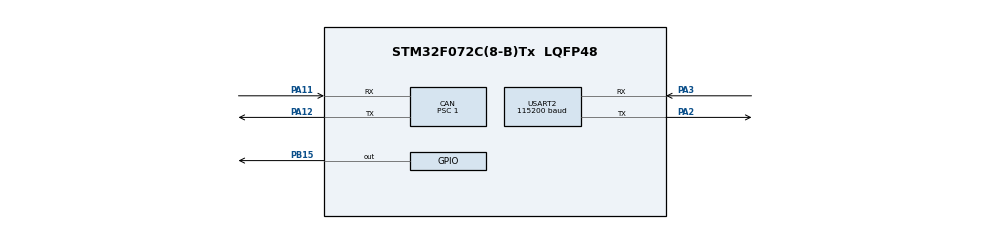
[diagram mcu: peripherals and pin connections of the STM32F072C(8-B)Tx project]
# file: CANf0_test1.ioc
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CAN.BS1=CAN_BS1_13TQ
CAN.BS2=CAN_BS2_2TQ
CAN.CalculateBaudRate=500000
CAN.CalculateTimeBit=2000
CAN.CalculateTimeQuantum=125.0
CAN.Prescaler=1
Mcu.Family=STM32F0
Mcu.Name=STM32F072C(8-B)Tx
Mcu.Package=LQFP48
NVIC.CEC_CAN_IRQn=true\:0\:0\:false\:false\:true\:true\:true\:true
NVIC.USART2_IRQn=true\:0\:0\:false\:false\:true\:true\:true\:true
PA11.Mode=CAN_Activate
PA11.Signal=CAN_RX
PA12.Mode=CAN_Activate
PA12.Signal=CAN_TX
PA13.Mode=Serial_Wire
PA13.Signal=SYS_SWDIO
PA14.Mode=Serial_Wire
PA14.Signal=SYS_SWCLK
PA2.Mode=Asynchronous
PA2.Signal=USART2_TX
PA3.Mode=Asynchronous
PA3.Signal=USART2_RX
PB15.Signal=GPIO_Output
PF0-OSC_IN.Mode=HSE-External-Oscillator
PF0-OSC_IN.Signal=RCC_OSC_IN
PF1-OSC_OUT.Mode=HSE-External-Oscillator
PF1-OSC_OUT.Signal=RCC_OSC_OUT
ProjectManager.HeapSize=0x200
ProjectManager.StackSize=0x400
ProjectManager.TargetToolchain=MDK-ARM V5.32
USART2.BaudRate=115200
USART2.VirtualMode-Asynchronous=VM_ASYNC
board=custom

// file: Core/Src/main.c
/* USER CODE BEGIN Header */
/**
  ******************************************************************************
  * @file           : main.c
  * @brief          : Main program body
  ******************************************************************************
  * @attention
  *
  * Copyright (c) 2025 STMicroelectronics.
  * All rights reserved.
  *
  * This software is licensed under terms that can be found in the LICENSE file
  * in the root directory of this software component.
  * If no LICENSE file comes with this software, it is provided AS-IS.
  *
  ******************************************************************************
  */
/* USER CODE END Header */
#include "main.h"

/* USER CODE BEGIN Includes */
#include <string.h>
/* USER CODE END Includes */

/* USER CODE BEGIN PTD */
// --- Original, Unchanged CAN Variables ---
volatile uint8_t messageReceived = 0;
CAN_RxHeaderTypeDef rxHeader;
uint8_t rxData[8];

// --- New UART Gateway Specific Typedefs ---
// A simple structure to hold a CAN message for UART framing
typedef struct
{
  uint16_t id;
  uint8_t dlc;
  uint8_t data[8];
} UART_CanMessage_t;

// State machine for receiving UART messages
typedef enum
{
  UART_STATE_WAITING_FOR_START,
  UART_STATE_READING_ID_HIGH,
  UART_STATE_READING_ID_LOW,
  UART_STATE_READING_DLC,
  UART_STATE_READING_DATA,
  UART_STATE_READING_CHECKSUM,
  UART_STATE_READING_END
} UART_State_t;
/* USER CODE END PTD */

/* USER CODE BEGIN PD */
// --- New UART Gateway Defines ---
const uint8_t UART_START_BYTE = 0xAA;
const uint8_t UART_END_BYTE = 0x55;
/* USER CODE END PD */

CAN_HandleTypeDef hcan;

UART_HandleTypeDef huart2;

/* USER CODE BEGIN PV */
// --- New UART Gateway Specific Variables ---
UART_State_t uart_currentState = UART_STATE_WAITING_FOR_START;
UART_CanMessage_t uart_receivedMsg;
uint8_t uart_incomingByte;
int uart_dataIndex = 0;
uint8_t uart_calculatedChecksum = 0;
/* USER CODE END PV */

void SystemClock_Config(void);
static void MX_GPIO_Init(void);
static void MX_CAN_Init(void);
static void MX_USART2_UART_Init(void);
/* USER CODE BEGIN PFP */
// --- Original, Unchanged CAN Function Prototypes ---
void can_irq(CAN_HandleTypeDef *pcan);
HAL_StatusTypeDef can_send(uint32_t id, uint8_t data[], uint8_t length);

// --- New UART Gateway Function Prototypes ---
void gateway_send_can_over_uart(uint32_t id, uint8_t* data, uint8_t dlc);
void gateway_process_uart_byte(void);
/* USER CODE END PFP */

/* USER CODE BEGIN 0 */
// --- Original, Unchanged CAN Functions ---
void can_irq(CAN_HandleTypeDef *pcan) {
  /* Simply receive whatever message comes in */
  if (HAL_CAN_GetRxMessage(pcan, CAN_RX_FIFO0, &rxHeader, rxData) == HAL_OK) {
    messageReceived = 1;
  }
}

HAL_StatusTypeDef can_send(uint32_t id, uint8_t data[], uint8_t length) {
  CAN_TxHeaderTypeDef txHeader;
  uint32_t mailbox;

  /* Configure TX header */
  txHeader.StdId = id;
  txHeader.IDE = CAN_ID_STD;
  txHeader.RTR = CAN_RTR_DATA;
  txHeader.DLC = length;
  txHeader.TransmitGlobalTime = DISABLE;

  /* Check if mailbox is available and send */
  if (HAL_CAN_GetTxMailboxesFreeLevel(&hcan) > 0) {
    return HAL_CAN_AddTxMessage(&hcan, &txHeader, data, &mailbox);
  }
  return HAL_BUSY;
}

// --- New UART Gateway Functions ---

/**
 * @brief  Takes CAN data and sends it over UART with framing and checksum.
 * @param  id: The CAN message ID.
 * @param  data: Pointer to the CAN data payload.
 * @param  dlc: The data length code of the CAN message.
 * @retval None
 */
void gateway_send_can_over_uart(uint32_t id, uint8_t* data, uint8_t dlc)
{
  uint8_t tx_buffer[14]; // Max size: 1 start + 2 id + 1 dlc + 8 data + 1 checksum + 1 end
  int idx = 0;

  // Calculate the checksum
  uint8_t checksum = 0;
  checksum ^= (id >> 8);
  checksum ^= (id & 0xFF);
  checksum ^= dlc;
  for (int i = 0; i < dlc; ++i)
  {
    checksum ^= data[i];
  }

  // Populate the transmission buffer
  tx_buffer[idx++] = UART_START_BYTE;
  tx_buffer[idx++] = (uint8_t)(id >> 8);
  tx_buffer[idx++] = (uint8_t)(id & 0xFF);
  tx_buffer[idx++] = dlc;
  memcpy(&tx_buffer[idx], data, dlc);
  idx += dlc;
  tx_buffer[idx++] = checksum;
  tx_buffer[idx++] = UART_END_BYTE;

  // Transmit the message
  HAL_UART_Transmit(&huart2, tx_buffer, idx, 100);
}

/**
  * @brief  Processes a single byte received from UART using a state machine.
  * @note   This function is called from the UART RX interrupt callback.
  * When a full, valid message is parsed, it calls can_send().
  * @retval None
  */
void gateway_process_uart_byte(void)
{
    switch (uart_currentState)
    {
    case UART_STATE_WAITING_FOR_START:
      if (uart_incomingByte == UART_START_BYTE)
      {
        uart_currentState = UART_STATE_READING_ID_HIGH;
        uart_calculatedChecksum = 0;
        uart_dataIndex = 0;
        memset(&uart_receivedMsg, 0, sizeof(uart_receivedMsg));
      }
      break;

    case UART_STATE_READING_ID_HIGH:
      uart_receivedMsg.id = (uint16_t)uart_incomingByte << 8;
      uart_calculatedChecksum ^= uart_incomingByte;
      uart_currentState = UART_STATE_READING_ID_LOW;
      break;

    case UART_STATE_READING_ID_LOW:
      uart_receivedMsg.id |= uart_incomingByte;
      uart_calculatedChecksum ^= uart_incomingByte;
      uart_currentState = UART_STATE_READING_DLC;
      break;

    case UART_STATE_READING_DLC:
      uart_receivedMsg.dlc = uart_incomingByte;
      uart_calculatedChecksum ^= uart_incomingByte;
      if (uart_receivedMsg.dlc <= 8)
      {
        uart_currentState = (uart_receivedMsg.dlc == 0) ? UART_STATE_READING_CHECKSUM : UART_STATE_READING_DATA;
      }
      else
      { // Invalid DLC, reset
        uart_currentState = UART_STATE_WAITING_FOR_START;
      }
      break;

    case UART_STATE_READING_DATA:
      uart_receivedMsg.data[uart_dataIndex] = uart_incomingByte;
      uart_calculatedChecksum ^= uart_incomingByte;
      uart_dataIndex++;
      if (uart_dataIndex == uart_receivedMsg.dlc)
      {
        uart_currentState = UART_STATE_READING_CHECKSUM;
      }
      break;

    case UART_STATE_READING_CHECKSUM:
      if (uart_incomingByte == uart_calculatedChecksum)
      { // Checksum is valid
        uart_currentState = UART_STATE_READING_END;
      }
      else
      { // Checksum mismatch, reset
        uart_currentState = UART_STATE_WAITING_FOR_START;
      }
      break;

    case UART_STATE_READING_END:
      if (uart_incomingByte == UART_END_BYTE)
      {
        // Message successfully received and validated!
        // Now, transmit this message onto the CAN bus using the original function.
        can_send(uart_receivedMsg.id, uart_receivedMsg.data, uart_receivedMsg.dlc);
        HAL_GPIO_TogglePin(GPIOB, GPIO_PIN_15); // Toggle LED to indicate UART->CAN activity
      }
      // Reset state machine for the next message
      uart_currentState = UART_STATE_WAITING_FOR_START;
      break;
    }
}

/**
  * @brief  Rx Transfer completed callback.
  * @param  huart: UART handle
  * @retval None
  */
void HAL_UART_RxCpltCallback(UART_HandleTypeDef *huart)
{
    if (huart->Instance == USART2)
    {
        // Process the received byte
        gateway_process_uart_byte();
        // Re-arm the interrupt for the next byte
        HAL_UART_Receive_IT(&huart2, &uart_incomingByte, 1);
    }
}
/* USER CODE END 0 */

int main(void)
{

  /* MCU Configuration--------------------------------------------------------*/

  /* Reset of all peripherals, Initializes the Flash interface and the Systick. */
  HAL_Init();

  /* Configure the system clock */
  SystemClock_Config();

  /* Initialize all configured peripherals */
  MX_GPIO_Init();
  MX_CAN_Init();
  MX_USART2_UART_Init();
  /* USER CODE BEGIN 2 */
	HAL_GPIO_WritePin(GPIOB, GPIO_PIN_15, GPIO_PIN_RESET); // LED off

  // Start UART reception in interrupt mode
  HAL_UART_Receive_IT(&huart2, &uart_incomingByte, 1);
  /* USER CODE END 2 */

  /* Infinite loop */
  while (1)
  {

    /* USER CODE BEGIN 3 */
		/* If a CAN message was received (flag set in can_irq), process it. */
    if (messageReceived) {
      // 1. Forward the received CAN message over UART
      gateway_send_can_over_uart(rxHeader.StdId, rxData, rxHeader.DLC);

      // 2. Toggle LED to indicate CAN->UART activity
      HAL_GPIO_TogglePin(GPIOB, GPIO_PIN_15);

      // 3. Clear the flag (original behavior)
      messageReceived = 0;
    }

    HAL_Delay(50);
  }
  /* USER CODE END 3 */
}

void SystemClock_Config(void)
{
  RCC_OscInitTypeDef RCC_OscInitStruct = {0};
  RCC_ClkInitTypeDef RCC_ClkInitStruct = {0};
  RCC_PeriphCLKInitTypeDef PeriphClkInit = {0};

  /** Initializes the RCC Oscillators according to the specified parameters
  * in the RCC_OscInitTypeDef structure.
  */
  RCC_OscInitStruct.OscillatorType = RCC_OSCILLATORTYPE_HSI;
  RCC_OscInitStruct.HSIState = RCC_HSI_ON;
  RCC_OscInitStruct.HSICalibrationValue = RCC_HSICALIBRATION_DEFAULT;
  RCC_OscInitStruct.PLL.PLLState = RCC_PLL_NONE;
  if (HAL_RCC_OscConfig(&RCC_OscInitStruct) != HAL_OK)
  {
    Error_Handler();
  }

  /** Initializes the CPU, AHB and APB buses clocks
  */
  RCC_ClkInitStruct.ClockType = RCC_CLOCKTYPE_HCLK|RCC_CLOCKTYPE_SYSCLK
                              |RCC_CLOCKTYPE_PCLK1;
  RCC_ClkInitStruct.SYSCLKSource = RCC_SYSCLKSOURCE_HSI;
  RCC_ClkInitStruct.AHBCLKDivider = RCC_SYSCLK_DIV1;
  RCC_ClkInitStruct.APB1CLKDivider = RCC_HCLK_DIV1;

  if (HAL_RCC_ClockConfig(&RCC_ClkInitStruct, FLASH_LATENCY_0) != HAL_OK)
  {
    Error_Handler();
  }
  PeriphClkInit.PeriphClockSelection = RCC_PERIPHCLK_USART2;
  PeriphClkInit.Usart2ClockSelection = RCC_USART2CLKSOURCE_PCLK1;
  if (HAL_RCCEx_PeriphCLKConfig(&PeriphClkInit) != HAL_OK)
  {
    Error_Handler();
  }
}

static void MX_CAN_Init(void)
{

  hcan.Instance = CAN;
  hcan.Init.Prescaler = 1;
  hcan.Init.Mode = CAN_MODE_NORMAL;
  hcan.Init.SyncJumpWidth = CAN_SJW_1TQ;
  hcan.Init.TimeSeg1 = CAN_BS1_13TQ;
  hcan.Init.TimeSeg2 = CAN_BS2_2TQ;
  hcan.Init.TimeTriggeredMode = DISABLE;
  hcan.Init.AutoBusOff = DISABLE;
  hcan.Init.AutoWakeUp = DISABLE;
  hcan.Init.AutoRetransmission = DISABLE;
  hcan.Init.ReceiveFifoLocked = DISABLE;
  hcan.Init.TransmitFifoPriority = DISABLE;
  if (HAL_CAN_Init(&hcan) != HAL_OK)
  {
    Error_Handler();
  }
  /* USER CODE BEGIN CAN_Init 2 */
	CAN_FilterTypeDef sf;
  sf.FilterMaskIdHigh = 0x0000;
  sf.FilterMaskIdLow = 0x0000;
  sf.FilterFIFOAssignment = CAN_FILTER_FIFO0;
  sf.FilterBank = 0;
  sf.FilterMode = CAN_FILTERMODE_IDMASK;
  sf.FilterScale = CAN_FILTERSCALE_32BIT;
  sf.FilterActivation = CAN_FILTER_ENABLE;
  if (HAL_CAN_ConfigFilter(&hcan, &sf) != HAL_OK) { Error_Handler(); }

  if (HAL_CAN_RegisterCallback(&hcan, HAL_CAN_RX_FIFO0_MSG_PENDING_CB_ID, can_irq) != HAL_OK) { Error_Handler(); }

  if (HAL_CAN_Start(&hcan) != HAL_OK) { Error_Handler(); }

  if (HAL_CAN_ActivateNotification(&hcan, CAN_IT_RX_FIFO0_MSG_PENDING) != HAL_OK) { Error_Handler(); }

  /* Enable interrupts for CAN: FIFO0 message pending, transmit mailbox empty, error */
__HAL_CAN_ENABLE_IT(&hcan,
                    CAN_IT_RX_FIFO0_MSG_PENDING | // RX FIFO0 message
                    CAN_IT_TX_MAILBOX_EMPTY    | // Transmit mailbox empty
                    CAN_IT_ERROR_WARNING       | // Error warning
                    CAN_IT_ERROR_PASSIVE       | // Error passive
                    CAN_IT_BUSOFF              | // Bus-off
                    CAN_IT_LAST_ERROR_CODE     | // Last error code
                    CAN_IT_ERROR               ); // General error

/* Configure NVIC for CAN interrupts */
HAL_NVIC_SetPriority(CEC_CAN_IRQn, 0, 0);
HAL_NVIC_EnableIRQ(CEC_CAN_IRQn);
  /* USER CODE END CAN_Init 2 */

}

static void MX_USART2_UART_Init(void)
{

  huart2.Instance = USART2;
  huart2.Init.BaudRate = 115200;
  huart2.Init.WordLength = UART_WORDLENGTH_8B;
  huart2.Init.StopBits = UART_STOPBITS_1;
  huart2.Init.Parity = UART_PARITY_NONE;
  huart2.Init.Mode = UART_MODE_TX_RX;
  huart2.Init.HwFlowCtl = UART_HWCONTROL_NONE;
  huart2.Init.OverSampling = UART_OVERSAMPLING_16;
  huart2.Init.OneBitSampling = UART_ONE_BIT_SAMPLE_DISABLE;
  huart2.AdvancedInit.AdvFeatureInit = UART_ADVFEATURE_NO_INIT;
  if (HAL_UART_Init(&huart2) != HAL_OK)
  {
    Error_Handler();
  }

}

static void MX_GPIO_Init(void)
{
  GPIO_InitTypeDef GPIO_InitStruct = {0};

  /* GPIO Ports Clock Enable */
  __HAL_RCC_GPIOF_CLK_ENABLE();
  __HAL_RCC_GPIOA_CLK_ENABLE();
  __HAL_RCC_GPIOB_CLK_ENABLE();

  /*Configure GPIO pin Output Level */
  HAL_GPIO_WritePin(GPIOB, GPIO_PIN_15, GPIO_PIN_RESET);

  /*Configure GPIO pin : PB15 */
  GPIO_InitStruct.Pin = GPIO_PIN_15;
  GPIO_InitStruct.Mode = GPIO_MODE_OUTPUT_PP;
  GPIO_InitStruct.Pull = GPIO_NOPULL;
  GPIO_InitStruct.Speed = GPIO_SPEED_FREQ_LOW;
  HAL_GPIO_Init(GPIOB, &GPIO_InitStruct);

}

void Error_Handler(void)
{
  __disable_irq();
  while (1)
  {
  }
}
